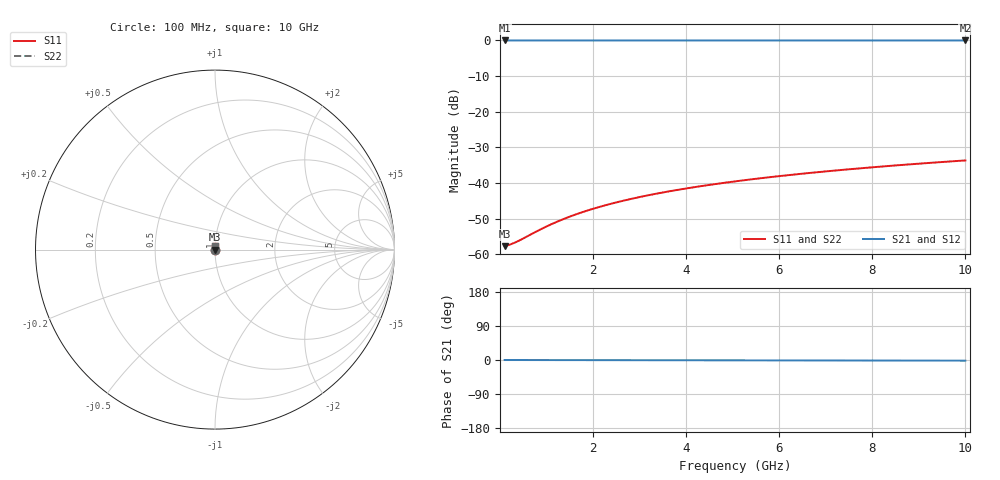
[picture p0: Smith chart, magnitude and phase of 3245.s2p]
# Hz S RI R 50.00
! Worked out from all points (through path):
!   100 points, 100 MHz to 10 GHz, reference 50 ohm
!   highest |S21| = -0.01 dB at 100 MHz (marker M1); lowest = 0.0 dB at 10 GHz (marker M2)
!   lowest |S11| = -57.7 dB at 100 MHz (marker M3), VSWR 1.00, Z = 50.1 + j0.0207 ohm
!   |S11| at or under -10 dB: start of sweep to end of sweep
!   |S22| runs from -57.7 to -33.7 dB; largest |S21 - S12| = 0
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1e8  0.00128 0.000206  0.9987 -0.000304  0.9987 -0.000304  0.00128 0.000206
2e8  0.00129 0.000412  0.9987 -0.000608  0.9987 -0.000608  0.00129 0.000412
3e8  0.0013 0.000618  0.9987 -0.000912  0.9987 -0.000912  0.0013 0.000618
4e8  0.0013 0.000824  0.9987 -0.00122  0.9987 -0.00122  0.0013 0.000824
9e8  0.00132 0.00185  0.9987 -0.00274  0.9987 -0.00274  0.00132 0.00185
1.2e9  0.00133 0.00247  0.9987 -0.00365  0.9987 -0.00365  0.00133 0.00247
1.5e9  0.00135 0.00309  0.9987 -0.00456  0.9987 -0.00456  0.00135 0.00309
1.8e9  0.00136 0.00371  0.9986 -0.00547  0.9986 -0.00547  0.00136 0.00371
2.1e9  0.00137 0.00433  0.9986 -0.00639  0.9986 -0.00639  0.00137 0.00433
2.5e9  0.00139 0.00515  0.9986 -0.0076  0.9986 -0.0076  0.00139 0.00515
2.9e9  0.00141 0.00597  0.9986 -0.00882  0.9986 -0.00882  0.00141 0.00597
3.4e9  0.00143 0.00701  0.9986 -0.0103  0.9986 -0.0103  0.00143 0.00701
3.8e9  0.00146 0.00783  0.9985 -0.0116  0.9985 -0.0116  0.00146 0.00783
4.2e9  0.00148 0.00865  0.9985 -0.0128  0.9985 -0.0128  0.00148 0.00865
4.6e9  0.00151 0.00948  0.9985 -0.014  0.9985 -0.014  0.00151 0.00948
5.1e9  0.00154 0.0105  0.9984 -0.0155  0.9984 -0.0155  0.00154 0.0105
5.9e9  0.00161 0.0122  0.9984 -0.0179  0.9984 -0.0179  0.00161 0.0122
6.7e9  0.00168 0.0138  0.9983 -0.0204  0.9983 -0.0204  0.00168 0.0138
7.5e9  0.00176 0.0155  0.9982 -0.0228  0.9982 -0.0228  0.00176 0.0155
8.4e9  0.00185 0.0173  0.9981 -0.0256  0.9981 -0.0256  0.00185 0.0173
9.2e9  0.00195 0.019  0.998 -0.028  0.998 -0.028  0.00195 0.019
1e10  0.00205 0.0206  0.9979 -0.0304  0.9979 -0.0304  0.00205 0.0206
